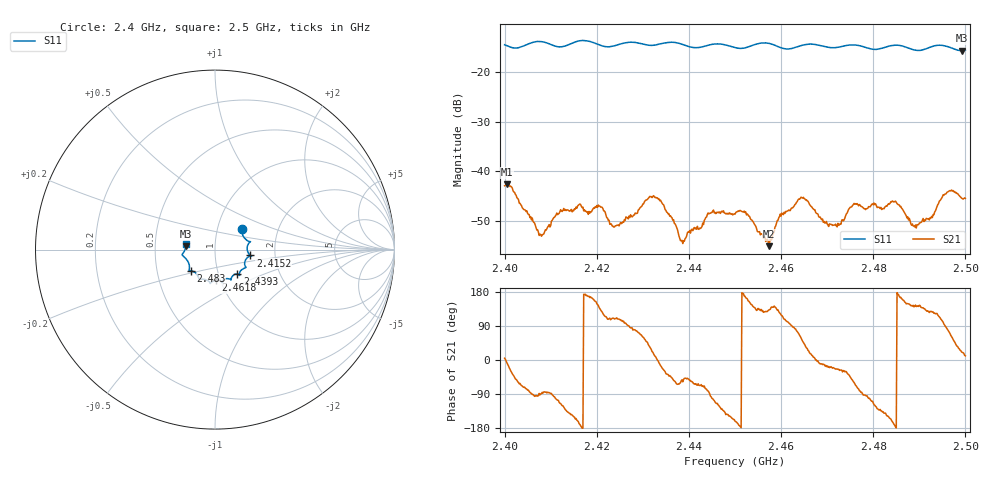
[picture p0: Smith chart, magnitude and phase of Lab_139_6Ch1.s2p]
# Hz S RI R 50
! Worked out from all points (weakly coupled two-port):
!   601 points, 2.4 GHz to 2.5 GHz, reference 50 ohm
!   highest |S21| = -42.57 dB at 2.4005 GHz (marker M1); lowest = -55.1 dB at 2.4573 GHz (marker M2)
!   lowest |S11| = -15.7 dB at 2.4992 GHz (marker M3), VSWR 1.39, Z = 36 + j1.32 ohm
!   |S11| at or under -10 dB: start of sweep to end of sweep
!   S12 and S22 are empty: the file has one direction only
!   S11 on the Smith chart (normalised r, x): 2.4 GHz: 1.31, +0.31; 2.4152 GHz: 1.48, -0.10; 2.4393 GHz: 1.23, -0.35; 2.4618 GHz: 0.95, -0.33; 2.483 GHz: 0.74, -0.18; 2.5 GHz: 0.72, +0.05
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2.4e9  0.1497 0.1136  0.00713 0.000579  0 0  0 0
2.4005e9  0.1497 0.1066  0.00737 -0.00097  0 0  0 0
2.407833e9  0.1975 0.044  1.47e-05 -0.00232  0 0  0 0
2.415167e9  0.1963 -0.0327  -0.00367 -0.00204  0 0  0 0
2.416667e9  0.2038 -0.0377  -0.00442 -0.000291  0 0  0 0
2.420833e9  0.1794 -0.0458  -0.00295 0.00322  0 0  0 0
2.423833e9  0.165 -0.0802  -0.000862 0.00261  0 0  0 0
2.433333e9  0.1365 -0.1317  0.00526 -0.000252  0 0  0 0
2.439333e9  0.1251 -0.1356  0.00143 -0.0016  0 0  0 0
2.444833e9  0.0889 -0.1667  -0.000484 -0.00381  0 0  0 0
2.45e9  0.0696 -0.1617  -0.00351 -0.00119  0 0  0 0
2.457333e9  0.044 -0.1894  -0.00118 0.00131  0 0  0 0
2.461833e9  0.00425 -0.1709  -0.000414 0.00401  0 0  0 0
2.466667e9  -0.0262 -0.189  0.00428 0.000942  0 0  0 0
2.471667e9  -0.0573 -0.166  0.00266 -0.00111  0 0  0 0
2.476e9  -0.0879 -0.1649  0.00215 -0.00416  0 0  0 0
2.483e9  -0.1355 -0.1182  -0.00378 -0.00238  0 0  0 0
2.483333e9  -0.1382 -0.1179  -0.00408 -0.00237  0 0  0 0
2.489167e9  -0.1449 -0.08  -0.00237 0.00165  0 0  0 0
2.4965e9  -0.1769 -0.0188  0.00182 0.00608  0 0  0 0
2.499167e9  -0.1629 0.0178  0.00501 0.00194  0 0  0 0
2.5e9  -0.1631 0.0327  0.00524 0.00101  0 0  0 0
